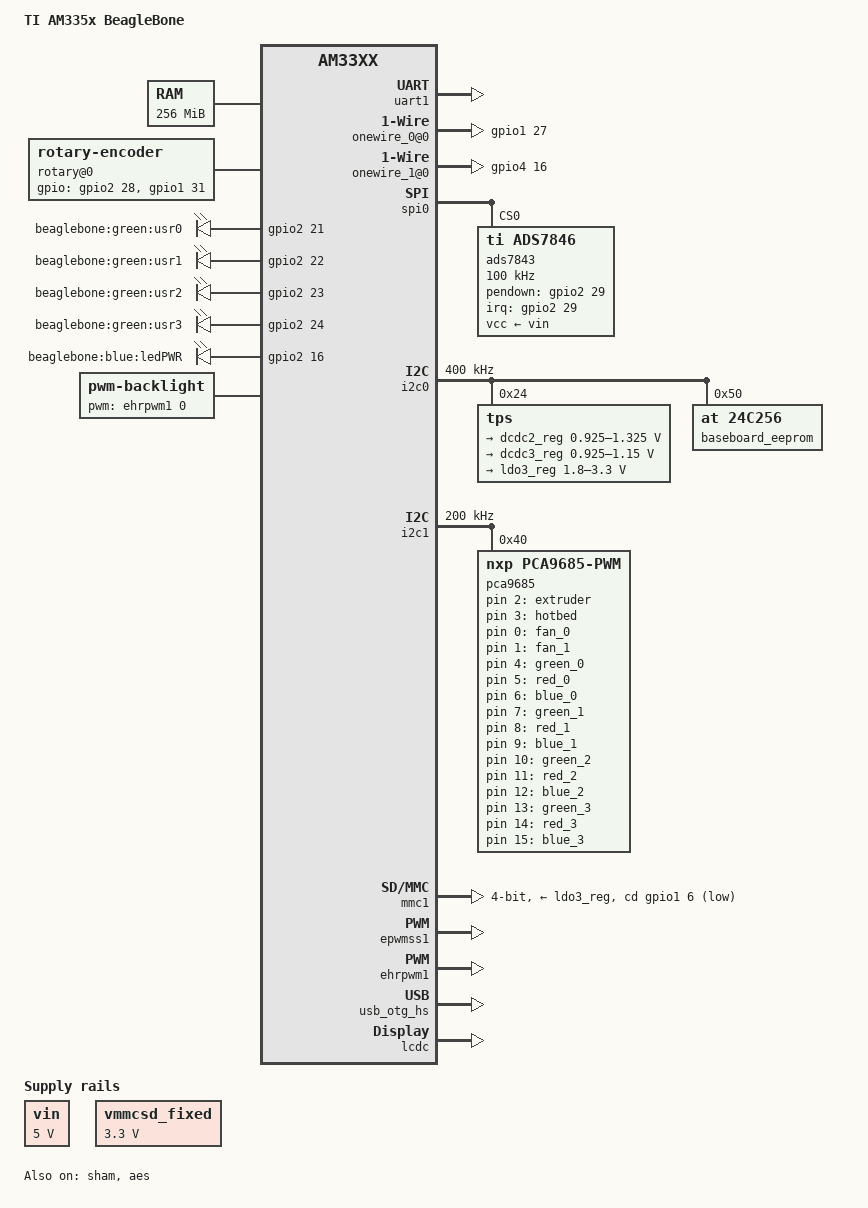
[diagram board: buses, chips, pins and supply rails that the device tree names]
/*
 * Copyright (C) 2012 Texas Instruments Incorporated - http://www.ti.com/
 *
 * This program is free software; you can redistribute it and/or modify
 * it under the terms of the GNU General Public License version 2 as
 * published by the Free Software Foundation.
 */

/include/ "am33xx.dtsi"

/ {
        model = "TI AM335x BeagleBone";
        compatible = "ti,am335x-bone", "ti,am33xx";

        cpus {
                cpu@0 {
                        cpu0-supply = <&dcdc2_reg>;
                };
        };

        memory {
                device_type = "memory";
                reg = <0x80000000 0x10000000>; /* 256 MB */
        };

        am33xx_pinmux: pinmux@44e10800 {
                pinctrl-names = "default";
                pinctrl-0 = <&stepper_pins &endstop_pins &frontpanel_button_pin &frontpanel_encoder_pins>;

                userled_pins: pinmux_userled_pins {
                        pinctrl-single,pins = <
                                0x054 0x07        /* gpmc_a5.gpio1_21, OUTPUT | MODE7 */
                                0x058 0x17       /* gpmc_a6.gpio1_22, OUTPUT_PULLUP | MODE7 */
                                0x05c 0x07        /* gpmc_a7.gpio1_23, OUTPUT | MODE7 */
                                0x060 0x17       /* gpmc_a8.gpio1_24, OUTPUT_PULLUP | MODE7 */
                                0x040 0x07       /* gpmc_a0.gpio1_16, OUTPUT_PULLDOWN | MODE7, EXT_GPIO */
                        >;
                };
                stepper_pins: pinmux_stepper_pins {
                        pinctrl-single,pins = <
                                0x034 0x07      /* gpmc_ad13.gpio1_13, OUTPUT_PULLDOWN | MODE7, DIR X */
                                0x030 0x07      /* gpmc_ad12.gpio1_12, OUTPUT_PULLDOWN | MODE7, STEP X */
                                0x1A8 0x07      /* mcasp0_axr1.gpio3_20, OUTPUT_PULLDOWN | MODE7, DIR Y */
                                0x1A0 0x07      /* mcasp0_aclkr.gpio3_18, OUTPUT_PULLDOWN | MODE7, STEP Y */
                                0x024 0x07      /* gpmc_ad9.gpio0_23, OUTPUT_PULLDOWN | MODE7, DIR Z */
                                0x028 0x07      /* gpmc_ad10.gpio0_26, OUTPUT_PULLDOWN | MODE7, STEP Z */
                                0x03C 0x07      /* gpmc_ad15.gpio1_15, OUTPUT_PULLDOWN | MODE7, DIR E */
                                0x038 0x07      /* gpmc_ad14.gpio1_14, OUTPUT_PULLDOWN | MODE7, STEP E */
                                0x08C 0x37      /* gpmc_clk.gpio2_1, INPUT_PULLUP | MODE7, FLAG */
                        >;
                };
                endstop_pins: pinmux_endstop_pins {
                        pinctrl-single,pins = <
                                0x090 0x37      /* gpmc_advn_ale.gpio2_2, INPUT_PULLUP | MODE7, END X1 */
                                0x094 0x37      /* gpmc_oen_ren.gpio2_3, INPUT_PULLUP | MODE7, END X2 */
                                0x09C 0x37      /* gpmc_ben0_cle.gpio2_5, INPUT_PULLUP | MODE7, END Y1 */
                                0x098 0x37      /* gpmc_wen.gpio2_4, INPUT_PULLUP | MODE7, END Y2 */
                                0x04C 0x37      /* gpmc_a3.gpio1_19, INPUT_PULLUP | MODE7, END Z1 */
                        >;
                };
                frontpanel_button_pin: pinmux_frontpanel_button_pin {
                        pinctrl-single,pins = <
                                0x070 0x37       /* gpmc_wait0.gpio0_30, INPUT_PULLUP | MODE7, ENC_SW */
                        >;
                };
                frontpanel_encoder_pins: pinmux_frontpanel_encoder_pins {
                        pinctrl-single,pins = <
                                0x078 0x37      /* gpmc_ben1.gpio1_28, INPUT_PULLUP | MODE7, ENC_A */
                                0x074 0x37       /* gpmc_wpn.gpio0_31, INPUT_PULLUP | MODE7, ENC_B */
                        >;
                };
                i2c0_pins: pinmux_i2c0_pins {
                        pinctrl-single,pins = <
                                0x188 0x70      /* i2c0_sda, SLEWCTRL_SLOW | INPUT_PULLUP | MODE0 */
                                0x18c 0x70      /* i2c0_scl, SLEWCTRL_SLOW | INPUT_PULLUP | MODE0 */
                        >;
                };
                i2c1_pins: pinmux_i2c1_pins {
                        pinctrl-single,pins = <
                                0x184 0x73      /* uart1_txd.i2c1_scl, SLEWCTRL_SLOW | INPUT_PULLUP | MODE3, I2C1_SCL */
                                0x180 0x73      /* uart1_rxd.i2c1_sda, SLEWCTRL_SLOW | INPUT_PULLUP | MODE3, I2C1_SDA */
                        >;
                };
                mmc1_pins: pinmux_mmc1_pins {
                        pinctrl-single,pins = <
                                0x160 0x2f /* GPIO0_6 (PIN_INPUT | MUX_MODE7) */
                        >;
                };
                lcd_pins: pinmux_lcd_pins {
                        pinctrl-single,pins = <
                                0x0a0 0x08      /* lcd_data0.lcd_data0, OUTPUT_PULL_DISA | MODE0, LCD_D0 */
                                0x0a4 0x08      /* lcd_data1.lcd_data1, OUTPUT_PULL_DISA | MODE0, LCD_D1 */
                                0x0a8 0x08      /* lcd_data2.lcd_data2, OUTPUT_PULL_DISA | MODE0, LCD_D2 */
                                0x0ac 0x08      /* lcd_data3.lcd_data3, OUTPUT_PULL_DISA | MODE0, LCD_D3 */
                                0x0b0 0x08      /* lcd_data4.lcd_data4, OUTPUT_PULL_DISA | MODE0, LCD_D4 */
                                0x0b4 0x08      /* lcd_data5.lcd_data5, OUTPUT_PULL_DISA | MODE0, LCD_D5 */
                                0x0b8 0x08      /* lcd_data6.lcd_data6, OUTPUT_PULL_DISA | MODE0, LCD_D6 */
                                0x0bc 0x08      /* lcd_data7.lcd_data7, OUTPUT_PULL_DISA | MODE0, LCD_D7 */
                                0x0c0 0x08      /* lcd_data8.lcd_data8, OUTPUT_PULL_DISA | MODE0, LCD_D8 */
                                0x0c4 0x08      /* lcd_data9.lcd_data9, OUTPUT_PULL_DISA | MODE0, LCD_D9 */
                                0x0c8 0x08      /* lcd_data10.lcd_data10, OUTPUT_PULL_DISA | MODE0, LCD_D10 */
                                0x0cc 0x08      /* lcd_data11.lcd_data11, OUTPUT_PULL_DISA | MODE0, LCD_D11 */
                                0x0d0 0x08      /* lcd_data12.lcd_data12, OUTPUT_PULL_DISA | MODE0, LCD_D12 */
                                0x0d4 0x08      /* lcd_data13.lcd_data13, OUTPUT_PULL_DISA | MODE0, LCD_D13 */
                                0x0d8 0x08      /* lcd_data14.lcd_data14, OUTPUT_PULL_DISA | MODE0, LCD_D14 */
                                0x0dc 0x08      /* lcd_data15.lcd_data15, OUTPUT_PULL_DISA | MODE0, LCD_D15 */
                                0x0e0 0x00      /* lcd_vsync.lcd_vsync, OUTPUT_PULLDOWN | MODE0, LCD_VSYNC */
                                0x0e4 0x00      /* lcd_hsync.lcd_hsync, OUTPUT_PULLDOWN | MODE0, LCD_HSYNC */
                                0x0e8 0x00      /* lcd_pclk.lcd_pclk, OUTPUT_PULLDOWN | MODE0, LCD_PCLK */
                                0x0ec 0x00      /* lcd_ac_bias_en.lcd_ac_bias_en, OUTPUT_PULLDOWN | MODE0, LCD_AC_BIAS_EN */
                                0x1a4 0x17      /* mcasp0_fsr.gpio3_19, OUTPUT_PULLUP | MODE7, LCD_DISP */
                        >;
                };
                pwm_bl_pins: pinmux_pwm_bl_pins {
                        pinctrl-single,pins = <
                                0x048 0x06      /* gpmc_a2.ehrpwm1a, OUTPUT_PULLDOWN | MODE6, LCD_PWM_BL */
                        >;
                };
                spi0_pins: pinmux_spi0_pins {
                        pinctrl-single,pins = <
                                0x158 0x10      /* spi0_d1.spi0_d1, OUTPUT_PULLUP | MODE0, SPI0_D1 */
                                0x154 0x30      /* spi0_d0.spi0_d0, INPUT_PULLUP | MODE0, SPI0_D0 */
                                0x150 0x30      /* spi0_sclk.spi0_sclk, INPUT_PULLUP | MODE0, SPI0_CLK */
                                0x15C 0x10      /* spi0_cs0.spi0_cs0, OUTPUT_PULLUP | MODE0, SPI0_CS0 */
                                0x17C 0x17      /* uart1_rtsn.gpio0_13, OUTPUT_PULLUP | MODE7, SPI0_CS1 */
                                0x178 0x17      /* uart1_ctsn.gpio0_12, OUTPUT_PULLUP | MODE7, SPI0_CS2 */
                                0x044 0x17      /* gpmc_a1.gpio1_17, OUTPUT_PULLUP | MODE7, SPI0_CS3 */
                                0x1AC 0x17      /* mcasp0_ahclkx.gpio3_21, OUTPUT_PULLUP | MODE7, SPI0_CS4 */
                        >;
                };
                spi1_pins: pinmux_spi1_pins {
                        pinctrl-single,pins = <
                                0x190 0x33      /* mcasp0_aclkx.spi1_sclk, INPUT_PULLUP | MODE3 */
                                0x194 0x33      /* mcasp0_fsx.spi1_d0, INPUT_PULLUP | MODE3 */
                                0x19c 0x13      /* mcasp0_ahclkr.spi1_cs0, OUTPUT_PULLUP | MODE3 */
                        >;
                };
                onewire_0_pins: pinmux_onewire_0_pins {
                        pinctrl-single,pins = <
                                0x02C 0x37      /* gpmc_ad11.gpio0_27, INPUT_PULLUP | MODE7, 1wire_0 */
                        >;
                };
                onewire_1_pins: pinmux_onewire_1_pins {
                        pinctrl-single,pins = <
                                0x198 0x37      /* mcasp0_axr0.gpio3_16, INPUT_PULLUP | MODE7, 1wire_1 */
                        >;
                };
                XPT2046_pins: pinmux_XPT2046_pins {
                        pinctrl-single,pins = <
                                0x07c 0x2F      /* gpmc_csn0.gpio1_29, INPUT_NOPULL | MODE7, SPI0_TS_IRQ */
                                0x020 0x17      /* gpmc_ad8.gpio0_22, OUTPUT_PULLUP | MODE7, LCD_TS_BUSY */
                        >;
                };
        };

        ocp: ocp {
                uart1: serial@44e09000 {
                        status = "okay";
                };
                rotary@0 {
                        compatible = "rotary-encoder";
                        gpios = <&gpio2 28 0>, <&gpio1 31 0>;
                        linux,axis = <0>; /* REL_X */
                        rotary-encoder,relative-axis;
                };
                gpio-leds {
                        compatible = "gpio-leds";
                        pinctrl-names = "default";
                        pinctrl-0 = <&userled_pins>;

                        led0 {
                                label = "beaglebone:green:usr0";
                                gpios = <&gpio2 21 0>;
                                linux,default-trigger = "heartbeat";
                                default-state = "off";
                        };

                        led1 {
                                label = "beaglebone:green:usr1";
                                gpios = <&gpio2 22 0>;
                                linux,default-trigger = "mmc0";
                                default-state = "off";
                        };

                        led2 {
                                label = "beaglebone:green:usr2";
                                gpios = <&gpio2 23 0>;
                                linux,default-trigger = "cpu0";
                                default-state = "off";
                        };

                        led3 {
                                label = "beaglebone:green:usr3";
                                gpios = <&gpio2 24 0>;
                                default-state = "off";
                                linux,default-trigger = "mmc1";
                        };

                        ledPWR {
                                label = "beaglebone:blue:ledPWR";
                                gpios = <&gpio2 16 0>;
                                default-state = "on";
                        };
                };

                pwmleds {
                        compatible = "pwm-leds";
                        extruder {
                                pwms = <&pca9685 2 5000000>;
                                pwm-names = "extruder";
                        };
                        hotbed {
                                pwms = <&pca9685 3 5000000>;
                                pwm-names = "hotbed";
                        };

                        fan_0 {
                                pwms = <&pca9685 0 5000000>;
                                pwm-names = "fan_0";
                        };
                        fan_1 {
                                pwms = <&pca9685 1 5000000>;
                                pwm-names = "fan_1";
                        };

                        green_0 {
                                pwms = <&pca9685 4 5000000>;
                                pwm-names = "green_0";
                        };
                        red_0 {
                                pwms = <&pca9685 5 5000000>;
                                pwm-names = "red_0";
                        };
                        blue_0 {
                                pwms = <&pca9685 6 5000000>;
                                pwm-names = "blue_0";
                        };
                        green_1 {
                                pwms = <&pca9685 7 5000000>;
                                pwm-names = "green_1";
                        };
                        red_1 {
                                pwms = <&pca9685 8 5000000>;
                                pwm-names = "red_1";
                        };
                        blue_1 {
                                pwms = <&pca9685 9 5000000>;
                                pwm-names = "blue_1";
                        };
                        green_2 {
                                pwms = <&pca9685 10 5000000>;
                                pwm-names = "green_2";
                        };
                        red_2 {
                                pwms = <&pca9685 11 5000000>;
                                pwm-names = "red_2";
                        };
                        blue_2 {
                                pwms = <&pca9685 12 5000000>;
                                pwm-names = "blue_2";
                        };
                        green_3 {
                                pwms = <&pca9685 13 5000000>;
                                pwm-names = "green_3";
                        };
                        red_3 {
                                pwms = <&pca9685 14 5000000>;
                                pwm-names = "red_3";
                        };
                        blue_3 {
                                pwms = <&pca9685 15 5000000>;
                                pwm-names = "blue_3";
                        };
                };

                rtc@44e3e000 {
                        ti,system-power-controller;
                };

                backlight {
                        compatible      = "pwm-backlight";
                        pinctrl-names   = "default";
                        pinctrl-0       = <&pwm_bl_pins>;

                        pwms = <&ehrpwm1 0 500000 0>;
                        pwm-names = "LCD4_backlight";
                        brightness-levels = <0 1 2 3 4 5 6 7 8 9 10 11 12 13 14 15 16 17 18 19 20 21 22 23 24 25 26 27 28 29 30 31 32 33 34 35 36 37 38 39 40 41 42 43 44 45 46 47 48 49 50 51 52 53 54 55 56 57 58 59 60 61 62 63 64 65 66 67 68 69 70 71 72 73 74 75 76 77 78 79 80 81 82 83 84 85 86 87 88 89 90 91 92 93 94 95 96 97 98 99 100>;
                        default-brightness-level = <50>; /* index to the array above */
                        status = "okay";
                };

                /* Settings for NHD-4.3-ATXI#-T-1 / LCD4 cape: */
                /*panel {
                        compatible = "tilcdc,panel";
                        pinctrl-names = "default";
                        pinctrl-0 = <&lcd_pins>;
                        panel-info {
                                ac-bias           = <255>;
                                ac-bias-intrpt    = <0>;
                                dma-burst-sz      = <16>;
                                bpp               = <24>;
                                fdd               = <0x80>;
                                tft-alt-mode      = <0>;
                                stn-565-mode      = <0>;
                                mono-8bit-mode    = <0>;
                                sync-edge         = <0>;
                                sync-ctrl         = <1>;
                                raster-order      = <0>;
                                fifo-th           = <0>;
                        };
                        display-timings {
                                native-mode = <&timing0>;
                                timing0: 480x272 {
                                        hactive         = <480>;
                                        vactive         = <272>;
                                        hback-porch     = <44>;
                                        hfront-porch    = <9>;
                                        hsync-len       = <5>;
                                        vback-porch     = <13>;
                                        vfront-porch    = <4>;
                                        vsync-len       = <10>;
                                        clock-frequency = <9000000>;
                                        hsync-active    = <0>;
                                        vsync-active    = <0>;
                                };
                        };
                };

                fb {
                        compatible = "ti,am33xx-tilcdc";
                        reg = <0x4830e000 0x1000>;
                        interrupt-parent = <&intc>;
                        interrupts = <36>;
                        ti,hwmods = "lcdc";
                };*/

                onewire_0@0 {
                        compatible = "w1-gpio";
                        pinctrl-names = "default";
                        pinctrl-0 = <&onewire_0_pins>;
                        gpios = <&gpio1 27 0>;
                };

                onewire_1@0 {
                        compatible = "w1-gpio";
                        pinctrl-names = "default";
                        pinctrl-0 = <&onewire_1_pins>;
                        gpios = <&gpio4 16 0>;
                };
        };

        vin: fixedregulator@0 {
                compatible = "regulator-fixed";
                regulator-name = "vin";
                regulator-min-microvolt = <5000000>;
                regulator-max-microvolt = <5000000>;
                regulator-boot-on;
        };

        vmmcsd_fixed: fixedregulator@0 {
                compatible = "regulator-fixed";
                regulator-name = "vmmcsd_fixed";
                regulator-min-microvolt = <3300000>;
                regulator-max-microvolt = <3300000>;
        };
};

&spi0 {
        status = "okay";
        pinctrl-names = "default";
        pinctrl-0 = <&spi0_pins>;
        //ti,spi-num-cs = <5>;
        //num-cs = <5>;
        //cs-gpios = <0>, <&gpio1 13 0>, <&gpio1 12 0>, <&gpio2 17 0>, <&gpio4 21 0>;

        ads7843@0 {
                compatible = "ti,ads7846";
                reg = <0>; /* CHIPSEL */
                spi-max-frequency = <100000>;
                mode = <0>;
                pinctrl-names = "default";
                pinctrl-0 = <&XPT2046_pins>;

                interrupt-parent = <&gpio2>;
                interrupts = <29>;
                pendown-gpio = <&gpio2 29 0>;
                ti,pendown-gpio-debounce = <50>;

                vcc-supply = <&vin>;
                ti,x-min = <0>;
                ti,x-max = <4000>;
                ti,y-min = <0>;
                ti,y-max = <4000>;
                ti,x-plate-ohms = <750>;
                ti,y-plate-ohms = <230>;
                ti,pressure-min = <1000>;
                ti,pressure-max = <15000>;
                ti,settle-delay-usec = <150>;
                ti,debounce-max = <5>;
                ti,debounce-tol = <65535>;
                ti,vref-delay-usecs = <450>;

                linux,wakeup;
        };
};

&i2c0 {
        status = "okay";
        clock-frequency = <400000>;
        pinctrl-names = "default";
        pinctrl-0 = <&i2c0_pins>;

        tps: tps@24 {
                reg = <0x24>;
        };

        baseboard_eeprom: baseboard_eeprom@50 {
                compatible = "at,24c256";
                reg = <0x50>;
        };
};

&i2c1 {
        status = "okay";
        clock-frequency = <200000>;
        pinctrl-names = "default";
        pinctrl-0 = <&i2c1_pins>;

        pca9685: pca9685@40 {
                compatible = "nxp,pca9685-pwm";
                #pwm-cells = <2>;
                reg = <0x40>;
                status = "okay";
        };
};

/include/ "tps65217.dtsi"

&tps {
        ti,pmic-shutdown-controller;

        interrupt-parent = <&intc>;
        interrupts = <7>;       /* NNMI */

        regulators {
                dcdc1_reg: regulator@0 {
                        regulator-always-on;
                };

                dcdc2_reg: regulator@1 {
                        /* VDD_MPU voltage limits 0.95V - 1.26V with +/-4% tolerance */
                        regulator-name = "vdd_mpu";
                        regulator-min-microvolt = <925000>;
                        regulator-max-microvolt = <1325000>;
                        regulator-boot-on;
                        regulator-always-on;
                };

                dcdc3_reg: regulator@2 {
                        /* VDD_CORE voltage limits 0.95V - 1.1V with +/-4% tolerance */
                        regulator-name = "vdd_core";
                        regulator-min-microvolt = <925000>;
                        regulator-max-microvolt = <1150000>;
                        regulator-boot-on;
                        regulator-always-on;
                };

                ldo1_reg: regulator@3 {
                        regulator-always-on;
                };

                ldo2_reg: regulator@4 {
                        regulator-always-on;
                };

                ldo3_reg: regulator@5 {
                        regulator-min-microvolt = <1800000>;
                        regulator-max-microvolt = <3300000>;
                        regulator-always-on;
                };

                ldo4_reg: regulator@6 {
                        regulator-always-on;
                };
        };

};

&cpsw_emac0 {
        phy_id = <&davinci_mdio>, <0>;
};

&cpsw_emac1 {
        phy_id = <&davinci_mdio>, <1>;
};

&mmc1 {
        pinctrl-names = "default";
        pinctrl-0 = <&mmc1_pins>;
        bus-width = <0x4>;
        cd-gpios = <&gpio1 6 0>; /* gpio1 is misnamed, 0 == GPIO_ACTIVE_HIGH */
        cd-inverted;
        status = "okay";
        vmmc-supply = <&ldo3_reg>;
        ti,vcc-aux-disable-is-sleep;
};

&edma {
        ti,edma-xbar-event-map = <32 12>,       /* gpevt2 -> 12 */
                                 <30 20>;       /* xdma_event_intr2 -> 20 */
};

&sham {
        status = "okay";
};

&aes {
        status = "okay";
};

&epwmss1 {
        status = "okay";
};

&ehrpwm1 {
        status = "okay";
};

&usb_otg_hs {
        interface_type = <1>;
        power = <250>;
        status = "okay";
};

&lcdc {
    status = "okay";

    display-timings {
        80x272p57 {
            clock-frequency = <9000000>;
            hactive = <480>;
            vactive = <272>;
            hfront-porch = <9>;
            hback-porch = <44>;
            hsync-len = <5>;
            vback-porch = <13>;
            vfront-porch = <4>;
            vsync-len = <10>;
            hsync-active = <0>;
            vsync-active = <0>;
        };
    };
};
